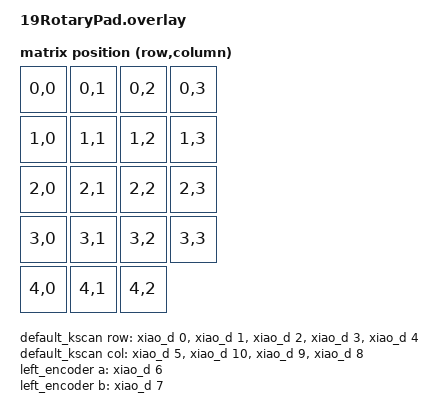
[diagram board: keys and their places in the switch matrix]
#include <dt-bindings/zmk/matrix_transform.h>
#include <physical_layouts.dtsi>
/ {
    chosen {
        zmk,kscan = &default_kscan;
        zmk,transform = &default_transform;
    };
    default_transform: keymap_transform0 {
        compatible = "zmk,matrix-transform";
        columns = <4>; // Length of the "col-gpios" array
        rows = <5>; // Length of the "row-gpios" array
        map = <
        //   Key 1 | Key 2 | Key 3 ｜ Key 4 
            RC(0,0) RC(0,1) RC(0,2) RC(0,3)
        //   Key 5 | Key 6 | Key 7 ｜ Key 8
            RC(1,0) RC(1,1) RC(1,2) RC(1,3)
        //   Key 9 | Key10 | Key11 ｜ Key12
            RC(2,0) RC(2,1) RC(2,2) RC(2,3)
        //   Key13 | Key14 | Key15 ｜ Key16
            RC(3,0) RC(3,1) RC(3,2) RC(3,3)
        //   Key17 | Key18 | Key19 
            RC(4,0) RC(4,1) RC(4,2) 
        >;
    };

    macropad_physical_layout: macropad_physical_layout {
        compatible = "zmk,physical-layout";
        display-name = "19RotaryPad Layout"; 
        transform = <&default_transform>;
        zmk,kscan = <&default_kscan>;
        keys  //                     w   h    x    y     rot    rx    ry
            = <&key_physical_attrs 100 100    0    0       0     0     0>
            , <&key_physical_attrs 100 100  100    0       0     0     0>
            , <&key_physical_attrs 100 100    0  100       0     0     0>
            , <&key_physical_attrs 100 100  100  100       0     0     0>
            ;
    };
    default_kscan: kscan {
        compatible = "zmk,kscan-gpio-matrix"; // マトリクス構成
        wakeup-source;
        diode-direction = "col2row";
        col-gpios  // 列 (出力)
            = <&xiao_d 5  (GPIO_ACTIVE_HIGH | GPIO_PULL_UP) > // Col 0 → D5
            , <&xiao_d 10 (GPIO_ACTIVE_HIGH | GPIO_PULL_UP) > // Col 1 → D10
            , <&xiao_d 9  (GPIO_ACTIVE_HIGH | GPIO_PULL_UP) > // Col 2 → D9
            , <&xiao_d 8  (GPIO_ACTIVE_HIGH | GPIO_PULL_UP) > // Col 3 → D8
            ;

        row-gpios  // 行 (入力)
            = <&xiao_d 0  (GPIO_ACTIVE_HIGH | GPIO_PULL_UP) >// Row 0 → D0
            , <&xiao_d 1  (GPIO_ACTIVE_HIGH | GPIO_PULL_UP) >// Row 1 → D1
            , <&xiao_d 2  (GPIO_ACTIVE_HIGH | GPIO_PULL_UP) >// Row 2 → D2
            , <&xiao_d 3  (GPIO_ACTIVE_HIGH | GPIO_PULL_UP) >// Row 3 → D3
            , <&xiao_d 4  (GPIO_ACTIVE_HIGH | GPIO_PULL_UP) >// Row 4 → D4
            ;
    };

    // ロータリーエンコーダの設定
    left_encoder: encoder_left {
        compatible = "alps,ec11";
        label = "encoder";
        a-gpios = <&xiao_d 6 (GPIO_ACTIVE_HIGH | GPIO_PULL_UP)>; // A相 → D6 (例)
        b-gpios = <&xiao_d 7 (GPIO_ACTIVE_HIGH | GPIO_PULL_UP)>; // B相 → D7 (例)
        steps = <24>;
        status = "okay";
    };

    sensors: sensors {
        compatible = "zmk,keymap-sensors";
        sensors = <&left_encoder>;
        triggers-per-rotation = <12>;
    };
};
